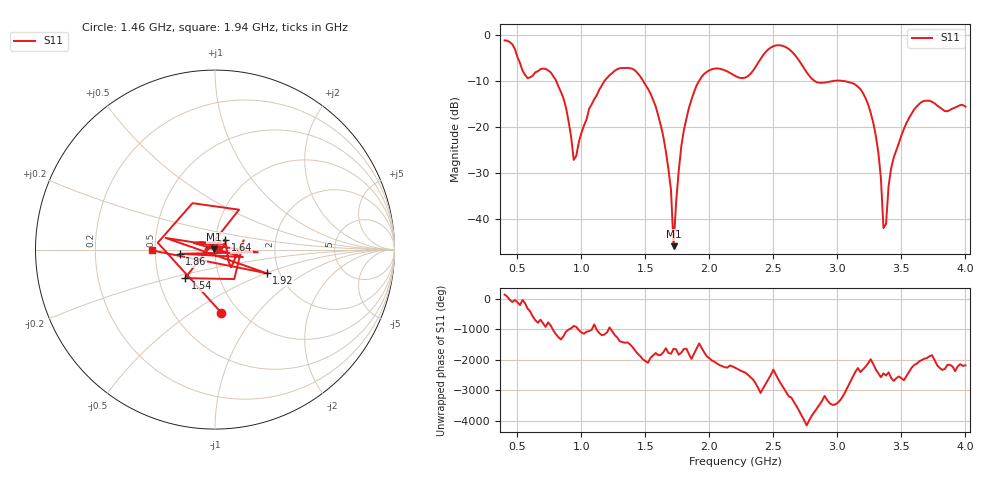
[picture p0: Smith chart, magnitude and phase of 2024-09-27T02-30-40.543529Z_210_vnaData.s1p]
!Created with skrf (http://scikit-rf.org).
# Hz S RI R 50.0
!freq ReS11 ImS11
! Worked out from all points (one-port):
!   181 points, 400 MHz to 4 GHz, reference 50 ohm
!   lowest |S11| = -46.0 dB at 1.72 GHz (marker M1), VSWR 1.01, Z = 49.5 + j0.186 ohm
!   |S11| at or under -10 dB: 803 MHz to 1.18 GHz (376.5 MHz wide, 38 % of centre); 1.483 GHz to 1.919 GHz (436.5 MHz wide, 25.7 % of centre); 3.039 GHz to end of sweep (the widest 3 of 4)
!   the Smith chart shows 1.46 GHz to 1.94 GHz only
!   S11 on the Smith chart (normalised r, x): 1.46 GHz: 0.83, -0.67; 1.54 GHz: 0.68, -0.23; 1.64 GHz: 1.11, +0.12; 1.86 GHz: 0.67, -0.03; 1.92 GHz: 1.72, -0.50; 1.94 GHz: 0.48, -0.00
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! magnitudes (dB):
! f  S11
! 400 MHz  -1.2
! 580 MHz  -9.4
! 720 MHz  -7.4
! 860 MHz  -13.8
! 940 MHz  -27.2
! 1.06 GHz  -16.1
! 1.3 GHz  -7.2
! 1.46 GHz  -9.0
! 1.54 GHz  -12.7
! 1.64 GHz  -22.1
! 1.7 GHz  -33.8
! 1.72 GHz  -46.0
! 1.76 GHz  -29.7
! 1.86 GHz  -14.1
! 1.92 GHz  -10.0
! 1.94 GHz  -9.1
! 2.2 GHz  -8.9
! 2.5 GHz  -2.4
! 2.66 GHz  -4.1
! 2.84 GHz  -10.3
! 3.1 GHz  -10.3
! 3.28 GHz  -19.1
! 3.34 GHz  -31.2
! 3.36 GHz  -42.0
! 3.38 GHz  -41.2
! 3.42 GHz  -29.0
! 3.56 GHz  -18.0
! 4 GHz  -15.6
